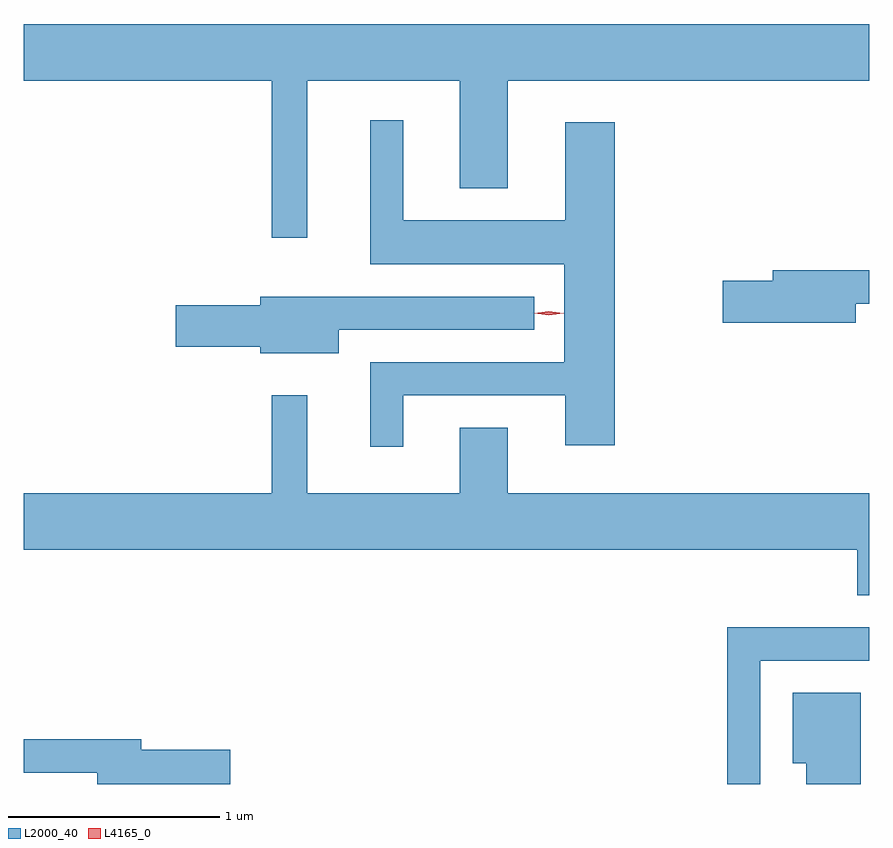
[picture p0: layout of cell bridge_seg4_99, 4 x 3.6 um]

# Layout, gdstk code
import gdstk
lib = gdstk.Library(unit=1e-6, precision=1e-09)
def P(c, l, *ps):  # polygons
    for p in ps: c.add(gdstk.Polygon(p, *l))
L2000_40 = (2000, 40)
L4165_0 = (4165, 0)

bridge_seg4_99 = lib.new_cell('bridge_seg4_99')
P(bridge_seg4_99, L2000_40, [(970.319,1367.996),(971.041,1367.996),(971.041,1367.486),(971.269,1367.486),(971.269,1367.996),(972.978,1367.996),(972.978,1368.264),(968.978,1368.264),(968.978,1367.996),(970.151,1367.996),(970.151,1367.253),(970.319,1367.253)],
  [(970.774,1366.506),(971.541,1366.506),(971.541,1366.271),(971.774,1366.271),(971.774,1367.799),(971.541,1367.799),(971.541,1367.334),(970.774,1367.334),(970.774,1367.808),(970.616,1367.808),(970.616,1367.126),(971.536,1367.126),(971.536,1366.664),(970.616,1366.664),(970.616,1366.263),(970.774,1366.263)],
  [(972.914,1366.941),(972.978,1366.941),(972.978,1367.099),(972.521,1367.099),(972.521,1367.049),(972.286,1367.049),(972.286,1366.851),(972.914,1366.851)],
  [(970.469,1366.816),(971.393,1366.816),(971.393,1366.974),(970.096,1366.974),(970.096,1366.934),(969.696,1366.934),(969.696,1366.736),(970.096,1366.736),(970.096,1366.706),(970.469,1366.706)],
  [(972.978,1366.044),(971.269,1366.044),(971.269,1366.354),(971.041,1366.354),(971.041,1366.044),(970.319,1366.044),(970.319,1366.508),(970.151,1366.508),(970.151,1366.044),(968.978,1366.044),(968.978,1365.776),(972.921,1365.776),(972.921,1365.561),(972.978,1365.561)],
  [(972.464,1365.251),(972.978,1365.251),(972.978,1365.409),(972.306,1365.409),(972.306,1364.667),(972.464,1364.667)],
  [(972.939,1365.099),(972.616,1365.099),(972.616,1364.766),(972.681,1364.766),(972.681,1364.667),(972.939,1364.667)],
  [(969.954,1364.829),(969.534,1364.829),(969.534,1364.879),(968.978,1364.879),(968.978,1364.721),(969.326,1364.721),(969.326,1364.667),(969.954,1364.667)])
P(bridge_seg4_99, L4165_0, [(971.463,1366.885),(971.394,1366.894),(971.393,1366.895),(971.394,1366.896),(971.463,1366.905),(971.532,1366.896),(971.532,1366.895),(971.532,1366.894)],
  [(971.463,1366.885),(971.397,1366.894),(971.397,1366.895),(971.397,1366.896),(971.463,1366.905),(971.529,1366.896),(971.529,1366.895),(971.529,1366.894)])

lib.write_gds('bridge_seg4_99.gds')
